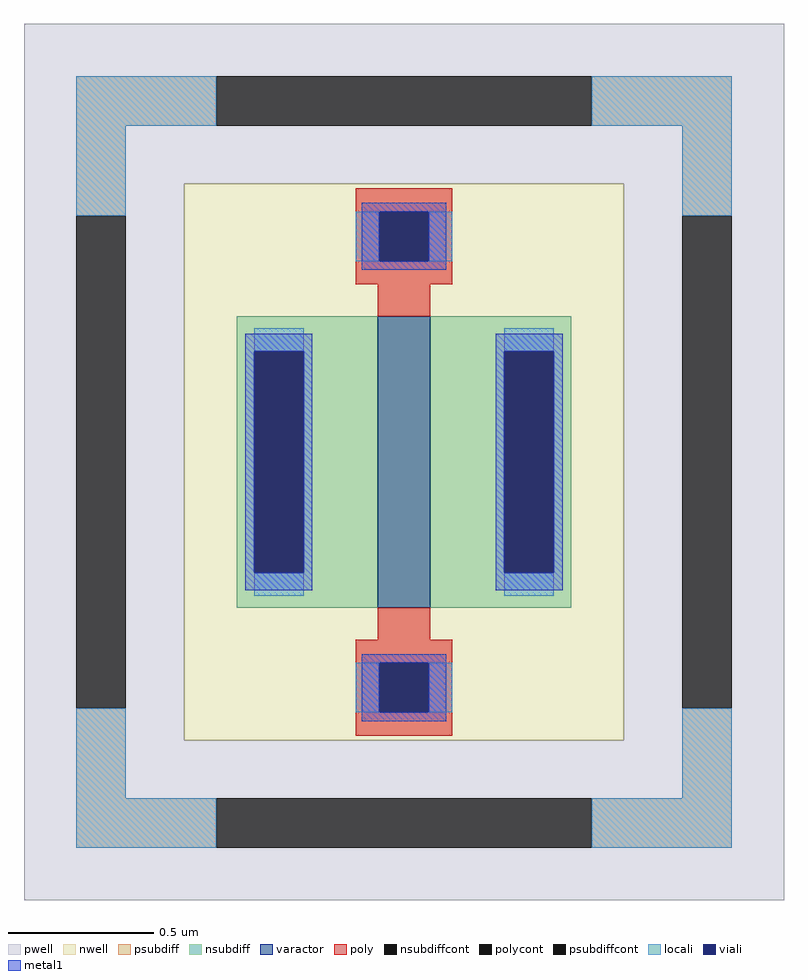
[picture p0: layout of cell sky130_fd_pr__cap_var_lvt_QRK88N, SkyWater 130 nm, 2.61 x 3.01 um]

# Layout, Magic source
magic
tech sky130A
magscale 1 2
<< nwell >>
rect -151 -191 151 191
<< pwell >>
rect -261 191 261 301
rect -261 -191 -151 191
rect 151 -191 261 191
rect -261 -301 261 -191
<< varactor >>
rect -18 -100 18 100
<< psubdiff >>
rect -225 231 -129 265
rect 129 231 225 265
rect -225 169 -191 231
rect 191 169 225 231
rect -225 -231 -191 -169
rect 191 -231 225 -169
rect -225 -265 -129 -231
rect 129 -265 225 -231
<< nsubdiff >>
rect -115 76 -18 100
rect -115 -76 -103 76
rect -69 -76 -18 76
rect -115 -100 -18 -76
rect 18 76 115 100
rect 18 -76 69 76
rect 103 -76 115 76
rect 18 -100 115 -76
<< psubdiffcont >>
rect -129 231 129 265
rect -225 -169 -191 169
rect 191 -169 225 169
rect -129 -265 129 -231
<< nsubdiffcont >>
rect -103 -76 -69 76
rect 69 -76 103 76
<< poly >>
rect -33 172 33 188
rect -33 138 -17 172
rect 17 138 33 172
rect -33 122 33 138
rect -18 100 18 122
rect -18 -122 18 -100
rect -33 -138 33 -122
rect -33 -172 -17 -138
rect 17 -172 33 -138
rect -33 -188 33 -172
<< polycont >>
rect -17 138 17 172
rect -17 -172 17 -138
<< locali >>
rect -225 231 -129 265
rect 129 231 225 265
rect -225 169 -191 231
rect -33 138 -17 172
rect 17 138 33 172
rect 191 169 225 231
rect -103 76 -69 92
rect -103 -92 -69 -76
rect 69 76 103 92
rect 69 -92 103 -76
rect -225 -231 -191 -169
rect -33 -172 -17 -138
rect 17 -172 33 -138
rect 191 -231 225 -169
rect -225 -265 -129 -231
rect 129 -265 225 -231
<< viali >>
rect -17 138 17 172
rect -103 -76 -69 76
rect 69 -76 103 76
rect -17 -172 17 -138
<< metal1 >>
rect -29 172 29 178
rect -29 138 -17 172
rect 17 138 29 172
rect -29 132 29 138
rect -109 76 -63 88
rect -109 -76 -103 76
rect -69 -76 -63 76
rect -109 -88 -63 -76
rect 63 76 109 88
rect 63 -76 69 76
rect 103 -76 109 76
rect 63 -88 109 -76
rect -29 -138 29 -132
rect -29 -172 -17 -138
rect 17 -172 29 -138
rect -29 -178 29 -172
<< properties >>
string gencell sky130_fd_pr__cap_var_lvt
string FIXED_BBOX -208 -248 208 248
string parameters w 1.0 l 0.18 m 1 nf 1 diffcov 100 polycov 100 guard 1 glc 1 grc 1 gtc 1 gbc 1 tbcov 100 rlcov 100 topc 1 botc 1 poverlap 0 doverlap 1 lmin 0.18 wmin 1.0 compatible {sky130_fd_pr__cap_var_lvt  sky130_fd_pr__cap_var_hvt sky130_fd_pr__cap_var} full_metal 1 viasrc 100 viadrn 100 viagate 100 viagb 0 viagr 0 viagl 0 viagt 0
string library sky130
<< end >>
